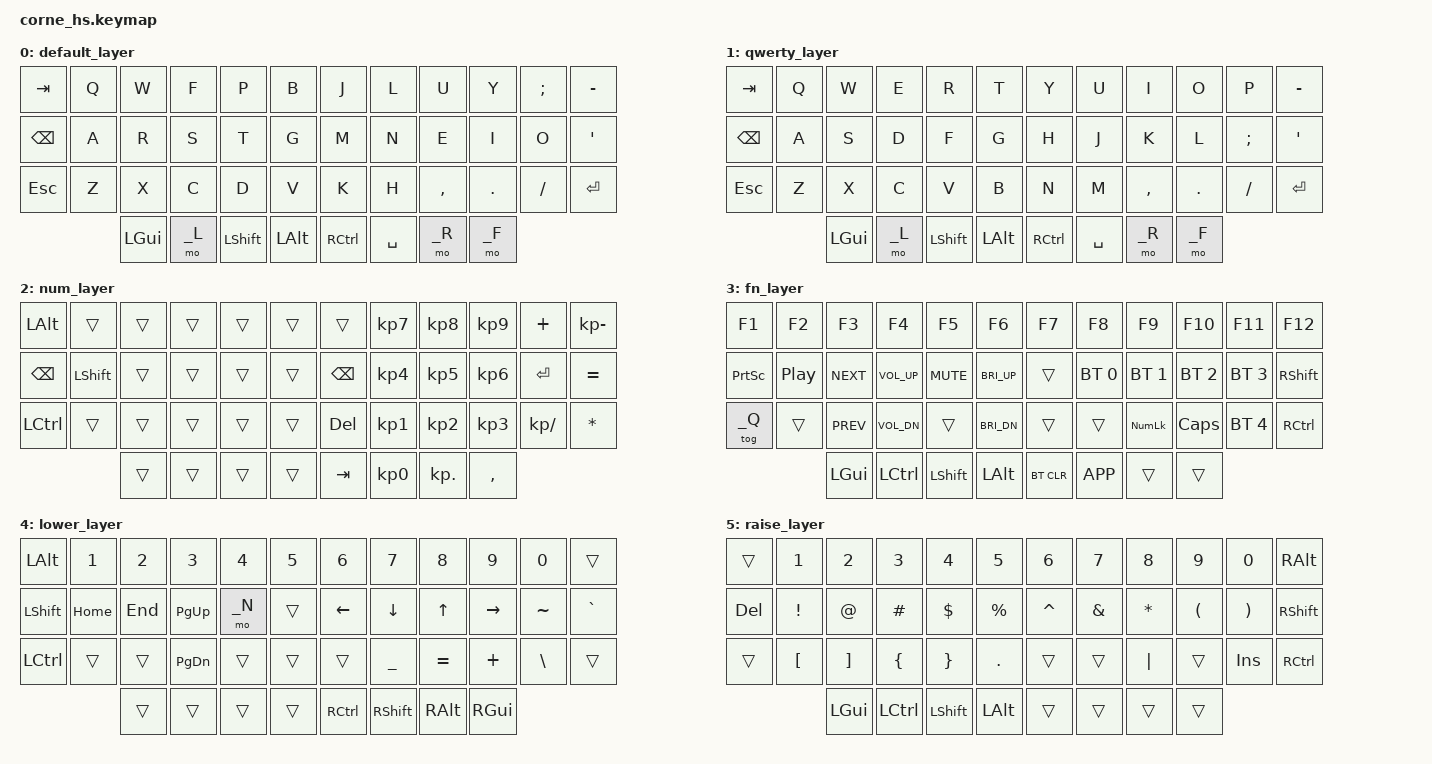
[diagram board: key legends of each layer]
/*
 * Copyright (c) 2020 The ZMK Contributors
 *
 * SPDX-License-Identifier: MIT
 */

#include <behaviors.dtsi>
#include <dt-bindings/zmk/keys.h>
#include <dt-bindings/zmk/bt.h>

#define _D 0
#define _Q 1
#define _N 2
#define _F 3
#define _L 4
#define _R 5

/ {
//	combos {
//	    compatible = "zmk,combos";
//	    combo_num {
//		timeout-ms = <75>;
//		key-positions = <16 37>;
//		bindings = <&mo _N>;
//	    };
//
//	};

        keymap {
                compatible = "zmk,keymap";

                default_layer {
// ------------------------------------------------------------------------------------
// | TAB  |  Q  |  W  |  F  |  P  |  B  |         |  J  |  L  |  U  |  Y  |  ;  |  -  |
// | BKSP |  A  |  R  |  S  |  T  |  G  |         |  M  |  N  |  E  |  I  |  O  |  '  |
// | ESC  |  Z  |  X  |  C  |  D  |  V  |         |  K  |  H  |  ,  |  .  |  /  | RET |
//              | GUI | LWR | SHFT| ALT |         | CTRL| SPC | RSE | FN  |
                        bindings = <
   &kp TAB   &kp Q    &kp W    &kp F  &kp P     &kp B     &kp J     &kp L     &kp U     &kp Y   &kp SEMI &kp MINUS
   &kp BSPC  &kp A    &kp R    &kp S  &kp T     &kp G     &kp M     &kp N     &kp E     &kp I   &kp O    &kp APOS
   &kp ESC   &kp Z    &kp X    &kp C  &kp D     &kp V     &kp K     &kp H     &kp COMMA &kp DOT &kp FSLH &kp RET
                      &kp LGUI &mo _L &kp LSHFT &kp LALT  &kp RCTRL &kp SPACE &mo _R    &mo _F 
                        >;
                };

                qwerty_layer {
// -------------------------------------------------------------------------------------
// |  TAB |  Q  |  W  |  E  |  R  |  T  |         |  Y  |  U  |  I  |  O  |  P  |  -   |
// | BKSP |  A  |  S  |  D  |  F  |  G  |         |  H  |  J  |  K  |  L  |  ;  |  '   |
// | ESC  |  Z  |  X  |  C  |  V  |  B  |         |  N  |  M  |  ,  |  .  |  /  | RET  |
//              | GUI | LWR | SHFT| ALT |         | CTRL| SPC | RSE | SWP |
                        bindings = <
   &kp TAB  &kp Q &kp W    &kp E  &kp R     &kp T    &kp Y     &kp U     &kp I     &kp O   &kp P    &kp MINUS 
   &kp BSPC &kp A &kp S    &kp D  &kp F     &kp G    &kp H     &kp J     &kp K     &kp L   &kp SEMI &kp APOS
   &kp ESC  &kp Z &kp X    &kp C  &kp V     &kp B    &kp N     &kp M     &kp COMMA &kp DOT &kp FSLH &kp RET
                  &kp LGUI &mo _L &kp LSHFT &kp LALT &kp RCTRL &kp SPACE &mo _R    &mo _F
                        >;
                };

                num_layer {
// ------------------------------------------------------------------------------------
// | ALT  |     |     |     |     |     |         |     |  7  |  8  |  9  |  +  |  -  |
// | BKSP | SHFT|     |     | ███ |     |         | BKSP|  4  |  5  |  6  | RET |  =  |
// | CTRL |     |     |     |     |     |         | DEL |  1  |  2  |  3  |  /  |  *  |
//              |     | ███ |     |     |         | TAB |  0  |  .  |  ,  |
                        bindings = <
   &kp LALT  &trans    &trans &trans &trans &trans &trans   &kp KP_N7 &kp KP_N8  &kp KP_N9 &kp PLUS     &kp KP_MINUS
   &kp BSPC  &kp LSHFT &trans &trans &trans &trans &kp BSPC &kp KP_N4 &kp KP_N5  &kp KP_N6 &kp RET      &kp EQUAL
   &kp LCTRL &trans    &trans &trans &trans &trans &kp DEL  &kp KP_N1 &kp KP_N2  &kp KP_N3 &kp KP_SLASH &kp STAR
                       &trans &trans &trans &trans &kp TAB  &kp KP_N0 &kp KP_DOT &kp COMMA
                        >;
                };

                fn_layer {
// ------------------------------------------------------------------------------------
// | F1  | F2  | F3  | F4  | F5  | F6  |         | F7  | F8  | F9  | F10 | F11 | F12  |
// |PSCRN| PLAY| NXT | VUP | MUTE| BRUP|         |     | BT1 | BT2 | BT3 | BT4 | SHFT |
// | SWP |     | PRV | VDN |     | BRDN|         |     |     |NUMLK| CAPS| BT5 | CTRL |
//             | GUI | CTRL| SHFT| ALT |         |BTCLR| MENU|     | ███ |
// BT1 = iPad   BT2 = Desktop   BT3 = Laptop   BT4 = Phone   BT5 = ?
                        bindings = <
   &kp F1      &kp F2     &kp F3     &kp F4       &kp F5     &kp F6       &kp F7     &kp F8       &kp F9       &kp F10      &kp F11      &kp F12
   &kp PSCRN   &kp C_PP   &kp C_NEXT &kp C_VOL_UP &kp C_MUTE &kp C_BRI_UP &trans     &bt BT_SEL 0 &bt BT_SEL 1 &bt BT_SEL 2 &bt BT_SEL 3 &kp RSHFT
   &tog _Q     &trans     &kp C_PREV &kp C_VOL_DN &trans     &kp C_BRI_DN &trans     &trans       &kp KP_NUM   &kp CAPS     &bt BT_SEL 4 &kp RCTRL
                          &kp LGUI   &kp LCTRL    &kp LSHFT  &kp LALT     &bt BT_CLR &kp K_APP    &trans       &trans
                        >;
                };


                lower_layer {
// ------------------------------------------------------------------------------------
// | ALT  |  1  |  2  |  3  |  4  |  5  |         |  6  |  7  |  8  |  9  |  0  |     |
// | SHFT | HOM | END | PGUP| NUM |     |         | LFT | DWN | UP  | RGT |  ~  |  `  |
// | CTRL |     |     | PGDN|     |     |         |     |  _  |  =  |  +  |  \  |     |
//              |     | ███ |     |     |         | CTRL| SHFT| ALT | GUI |
                        bindings = <
   &kp LALT  &kp N1   &kp N2  &kp N3    &kp N4 &kp N5 &kp N6    &kp N7    &kp N8    &kp N9    &kp N0    &trans
   &kp LSHFT &kp HOME &kp END &kp PG_UP &mo _N &trans &kp LEFT  &kp DOWN  &kp UP    &kp RIGHT &kp TILDE &kp GRAVE 
   &kp LCTRL &trans   &trans  &kp PG_DN &trans &trans &trans    &kp UNDER &kp EQUAL &kp PLUS  &kp BSLH  &trans 
                      &trans  &trans    &trans &trans &kp RCTRL &kp RSHFT &kp RALT  &kp RGUI
                        >;
                };

                raise_layer {
// ------------------------------------------------------------------------------------
// |      |  1  |  2  |  3  |  4  |  5  |         |  6  |  7  |  8  |  9  |  0  | ALT |
// | DEL  |  !  |  @  |  #  |  $  |  %  |         |  ^  |  &  |  *  |  (  |  )  | SHFT|
// |      |  [  |  ]  |  {  |  }  |  .  |         |     |     | "|" |     | INS | CTRL|
//              | GUI | CTRL| SHFT| ALT |         |     |     | ███ |     |
                        bindings = <
   &trans  &kp N1   &kp N2   &kp N3    &kp N4    &kp N5    &kp N6    &kp N7   &kp N8    &kp N9    &kp N0   &kp RALT
   &kp DEL &kp EXCL &kp AT   &kp HASH  &kp DLLR  &kp PRCNT &kp CARET &kp AMPS &kp STAR  &kp LPAR  &kp RPAR &kp RSHFT
   &trans  &kp LBKT &kp RBKT &kp LBRC  &kp RBRC  &kp DOT   &trans    &trans   &kp PIPE  &trans    &kp INS  &kp RCTRL
                    &kp LGUI &kp LCTRL &kp LSHFT &kp LALT  &trans    &trans   &trans    &trans
                        >;
                };

        };
};

